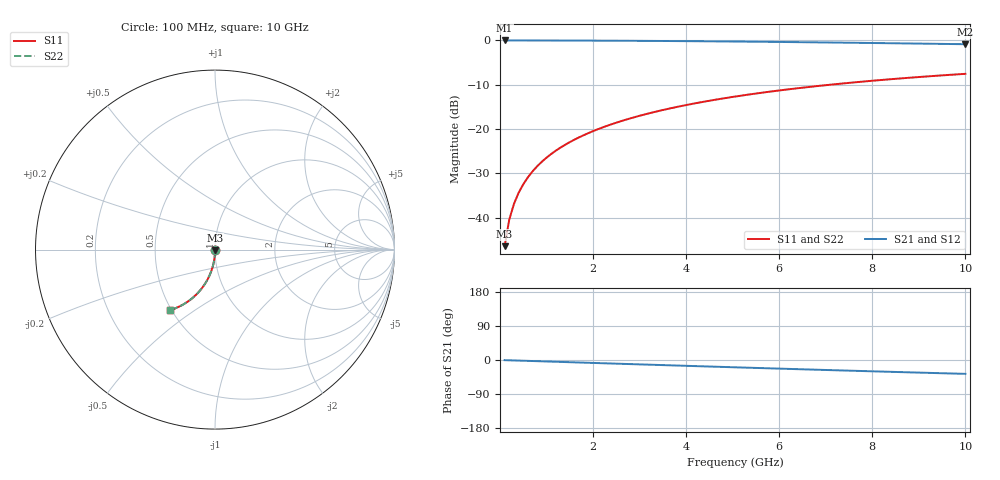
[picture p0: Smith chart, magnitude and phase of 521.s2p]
# Hz S RI R 50.00
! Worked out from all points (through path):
!   100 points, 100 MHz to 10 GHz, reference 50 ohm
!   highest |S21| = 0.00 dB at 100 MHz (marker M1); lowest = -0.9 dB at 10 GHz (marker M2)
!   group delay of S21, straight-line fit = 10.2 ps
!   lowest |S11| = -46.4 dB at 100 MHz (marker M3), VSWR 1.01, Z = 50 - j0.476 ohm
!   |S11| at or under -10 dB: start of sweep to 7.089 GHz
!   |S22| runs from -46.4 to -7.5 dB; largest |S21 - S12| = 0
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1e8  0.000287 -0.00476  0.9996 -0.00675  0.9996 -0.00675  0.000287 -0.00476
2e8  0.000187 -0.00952  0.9995 -0.0135  0.9995 -0.0135  0.000187 -0.00952
3e8  2.29e-05 -0.0143  0.9993 -0.0202  0.9993 -0.0202  2.29e-05 -0.0143
4e8  -0.000206 -0.019  0.9991 -0.027  0.9991 -0.027  -0.000206 -0.019
5e8  -0.000499 -0.0238  0.9988 -0.0337  0.9988 -0.0337  -0.000499 -0.0238
6e8  -0.000857 -0.0285  0.9984 -0.0405  0.9984 -0.0405  -0.000857 -0.0285
7e8  -0.00128 -0.0333  0.998 -0.0472  0.998 -0.0472  -0.00128 -0.0333
8e8  -0.00176 -0.038  0.9974 -0.0539  0.9974 -0.0539  -0.00176 -0.038
9e8  -0.00231 -0.0427  0.9969 -0.0606  0.9969 -0.0606  -0.00231 -0.0427
1.1e9  -0.0036 -0.0521  0.9955 -0.074  0.9955 -0.074  -0.0036 -0.0521
1.4e9  -0.00601 -0.0662  0.9929 -0.0941  0.9929 -0.0941  -0.00601 -0.0662
1.8e9  -0.0101 -0.0847  0.9886 -0.1206  0.9886 -0.1206  -0.0101 -0.0847
2.1e9  -0.0138 -0.0984  0.9846 -0.1403  0.9846 -0.1403  -0.0138 -0.0984
2.5e9  -0.0196 -0.1164  0.9785 -0.1663  0.9785 -0.1663  -0.0196 -0.1164
2.9e9  -0.0263 -0.134  0.9714 -0.1918  0.9714 -0.1918  -0.0263 -0.134
3.4e9  -0.0359 -0.1554  0.9611 -0.2232  0.9611 -0.2232  -0.0359 -0.1554
4.2e9  -0.0541 -0.1878  0.9417 -0.2717  0.9417 -0.2717  -0.0541 -0.1878
5.1e9  -0.0781 -0.2214  0.916 -0.3235  0.916 -0.3235  -0.0781 -0.2214
5.9e9  -0.1022 -0.2482  0.89 -0.3666  0.89 -0.3666  -0.1022 -0.2482
6.7e9  -0.1284 -0.2721  0.8617 -0.4068  0.8617 -0.4068  -0.1284 -0.2721
8.4e9  -0.1894 -0.3124  0.7953 -0.4821  0.7953 -0.4821  -0.1894 -0.3124
1e10  -0.2502 -0.3371  0.7281 -0.5402  0.7281 -0.5402  -0.2502 -0.3371
